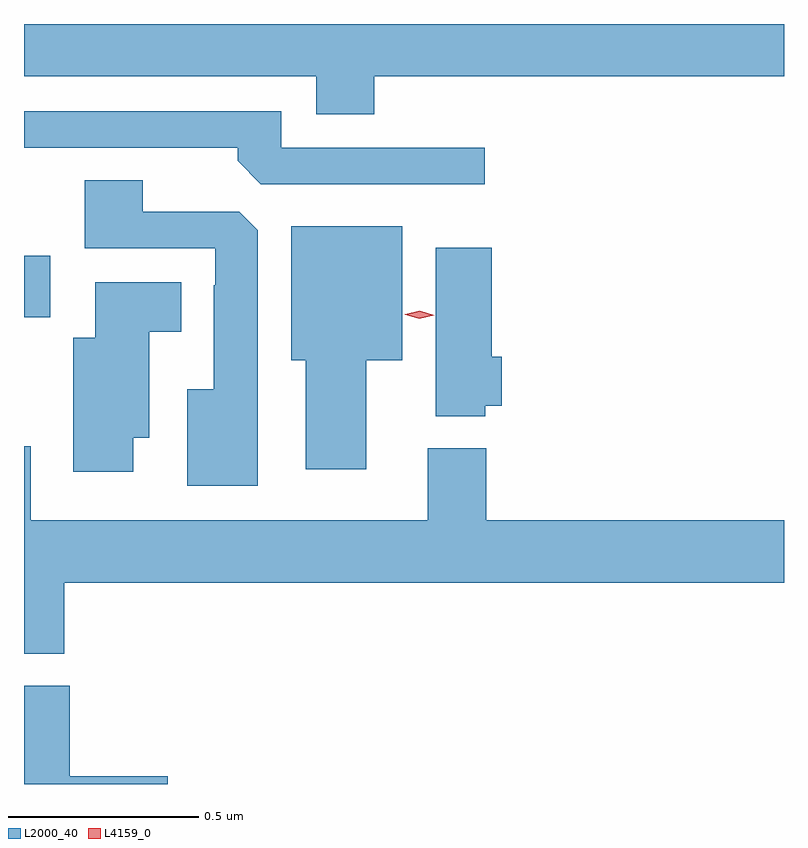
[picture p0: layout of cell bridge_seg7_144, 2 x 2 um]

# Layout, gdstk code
import gdstk
lib = gdstk.Library(unit=1e-6, precision=1e-09)
def R(c, l, rs):  # rectangles x0, y0, x1, y1
    for r in rs: c.add(gdstk.rectangle(r[:2], r[2:], *l))
def P(c, l, *ps):  # polygons
    for p in ps: c.add(gdstk.Polygon(p, *l))
L2000_40 = (2000, 40)
L4159_0 = (4159, 0)

bridge_seg7_144 = lib.new_cell('bridge_seg7_144')
R(bridge_seg7_144, L2000_40, [(720.376,1042.606,720.445,1042.768)])
P(bridge_seg7_144, L2000_40, [(721.298,1043.24),(722.376,1043.24),(722.376,1043.378),(720.376,1043.378),(720.376,1043.24),(721.145,1043.24),(721.145,1043.141),(721.298,1043.141)],
  [(721.588,1043.052),(721.053,1043.052),(721.053,1043.148),(720.376,1043.148),(720.376,1043.052),(720.938,1043.052),(720.938,1043.018),(720.999,1042.956),(721.588,1042.956)],
  [(720.991,1042.835),(720.942,1042.884),(720.688,1042.884),(720.688,1042.967),(720.536,1042.967),(720.536,1042.788),(720.879,1042.788),(720.879,1042.691),(720.875,1042.691),(720.875,1042.417),(720.806,1042.417),(720.806,1042.163),(720.991,1042.163)],
  [(721.276,1042.493),(721.372,1042.493),(721.372,1042.846),(721.079,1042.846),(721.079,1042.493),(721.118,1042.493),(721.118,1042.206),(721.276,1042.206)],
  [(721.59,1042.373),(721.633,1042.373),(721.633,1042.503),(721.607,1042.503),(721.607,1042.789),(721.46,1042.789),(721.46,1042.346),(721.59,1042.346)],
  [(720.664,1042.289),(720.706,1042.289),(720.706,1042.568),(720.79,1042.568),(720.79,1042.699),(720.563,1042.699),(720.563,1042.552),(720.506,1042.552),(720.506,1042.2),(720.664,1042.2)],
  [(720.482,1041.908),(722.376,1041.908),(722.376,1042.072),(721.592,1042.072),(721.592,1042.261),(721.439,1042.261),(721.439,1042.072),(720.394,1042.072),(720.394,1042.267),(720.376,1042.267),(720.376,1041.721),(720.482,1041.721)],
  [(720.754,1041.398),(720.497,1041.398),(720.497,1041.636),(720.376,1041.636),(720.376,1041.378),(720.754,1041.378)])
P(bridge_seg7_144, L4159_0, [(721.416,1042.603),(721.379,1042.613),(721.378,1042.614),(721.379,1042.614),(721.417,1042.623),(721.455,1042.612),(721.455,1042.612),(721.455,1042.611)])

lib.write_gds('bridge_seg7_144.gds')
